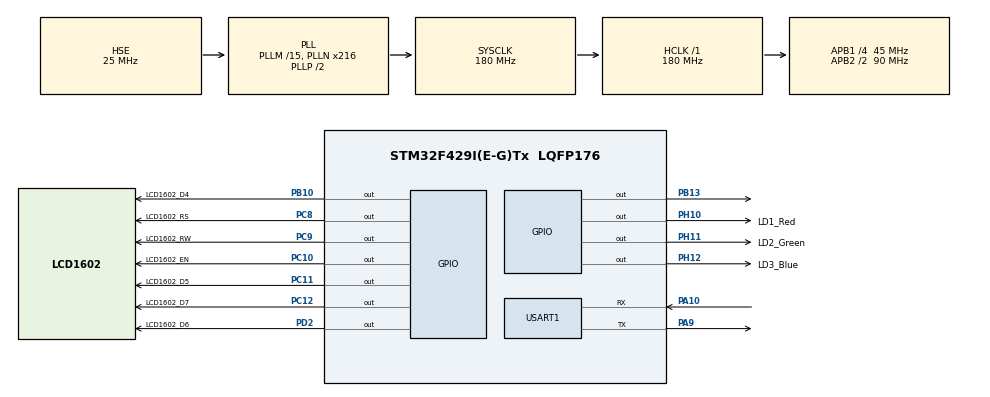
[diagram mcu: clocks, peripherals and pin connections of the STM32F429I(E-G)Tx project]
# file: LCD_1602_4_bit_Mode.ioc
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Mcu.Family=STM32F4
Mcu.Name=STM32F429I(E-G)Tx
Mcu.Package=LQFP176
NVIC.PriorityGroup=NVIC_PRIORITYGROUP_4
NVIC.TIM7_IRQn=true\:15\:0\:false\:false\:true\:false\:true
NVIC.TimeBase=TIM7_IRQn
NVIC.TimeBaseIP=TIM7
PA10.Mode=Asynchronous
PA10.Signal=USART1_RX
PA13.Mode=Serial_Wire
PA13.Signal=SYS_JTMS-SWDIO
PA14.Mode=Serial_Wire
PA14.Signal=SYS_JTCK-SWCLK
PA9.Mode=Asynchronous
PA9.Signal=USART1_TX
PB10.GPIO_Label=LCD1602_D4
PB10.Signal=GPIO_Output
PB13.PinState=GPIO_PIN_RESET
PB13.Signal=GPIO_Output
PC10.GPIO_Label=LCD1602_EN
PC10.Signal=GPIO_Output
PC11.GPIO_Label=LCD1602_D5
PC11.Signal=GPIO_Output
PC12.GPIO_Label=LCD1602_D7
PC12.Signal=GPIO_Output
PC8.GPIO_Label=LCD1602_RS
PC8.Signal=GPIO_Output
PC9.GPIO_Label=LCD1602_RW
PC9.Signal=GPIO_Output
PD2.GPIO_Label=LCD1602_D6
PD2.Signal=GPIO_Output
PH0/OSC_IN.Mode=HSE-External-Oscillator
PH0/OSC_IN.Signal=RCC_OSC_IN
PH1/OSC_OUT.Mode=HSE-External-Oscillator
PH1/OSC_OUT.Signal=RCC_OSC_OUT
PH10.GPIO_Label=LD1_Red
PH10.PinState=GPIO_PIN_SET
PH10.Signal=GPIO_Output
PH11.GPIO_Label=LD2_Green
PH11.PinState=GPIO_PIN_SET
PH11.Signal=GPIO_Output
PH12.GPIO_Label=LD3_Blue
PH12.PinState=GPIO_PIN_SET
PH12.Signal=GPIO_Output
ProjectManager.HeapSize=0x200
ProjectManager.StackSize=0x400
ProjectManager.TargetToolchain=STM32CubeIDE
RCC.48MHZClocksFreq_Value=90000000
RCC.AHBFreq_Value=180000000
RCC.APB1CLKDivider=RCC_HCLK_DIV4
RCC.APB1Freq_Value=45000000
RCC.APB1TimFreq_Value=90000000
RCC.APB2CLKDivider=RCC_HCLK_DIV2
RCC.APB2Freq_Value=90000000
RCC.APB2TimFreq_Value=180000000
RCC.CortexFreq_Value=180000000
RCC.HCLKFreq_Value=180000000
RCC.HSE_VALUE=25000000
RCC.HSI_VALUE=16000000
RCC.LSE_VALUE=32768
RCC.PLLM=15
RCC.PLLN=216
RCC.PLLSourceVirtual=RCC_PLLSOURCE_HSE
RCC.SYSCLKFreq_VALUE=180000000
RCC.SYSCLKSource=RCC_SYSCLKSOURCE_PLLCLK
RCC.VCOOutputFreq_Value=360000000
TIM6.Period=0xffff-1
TIM6.Prescaler=90-1
USART1.VirtualMode=VM_ASYNC
VP_SYS_VS_tim7.Mode=TIM7
VP_TIM6_VS_ClockSourceINT.Mode=Enable_Timer
board=custom

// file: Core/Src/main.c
/* USER CODE BEGIN Header */
/**
  ******************************************************************************
  * @file           : main.c
  * @brief          : Main program body
  ******************************************************************************
  * @attention
  *
  * Copyright (c) 2022 STMicroelectronics.
  * All rights reserved.
  *
  * This software is licensed under terms that can be found in the LICENSE file
  * in the root directory of this software component.
  * If no LICENSE file comes with this software, it is provided AS-IS.
  *
  ******************************************************************************
  */
/* USER CODE END Header */
#include "main.h"

/* USER CODE BEGIN Includes */
#include "stdio.h"
#include "LCD1602_4_bit.h"
/* USER CODE END Includes */

TIM_HandleTypeDef htim6;

UART_HandleTypeDef huart1;

void SystemClock_Config(void);
static void MX_GPIO_Init(void);
static void MX_TIM6_Init(void);
static void MX_USART1_UART_Init(void);

/* USER CODE BEGIN 0 */

int _write(int file, char *ptr, int len)
{
	HAL_UART_Transmit(&huart1, (uint8_t *)ptr, len, 100);
	return len;
}

uint8_t num = 0, row = 0, col = 0;

/* USER CODE END 0 */

int main(void)
{

  /* MCU Configuration--------------------------------------------------------*/

  /* Reset of all peripherals, Initializes the Flash interface and the Systick. */
  HAL_Init();

  /* Configure the system clock */
  SystemClock_Config();

  /* Initialize all configured peripherals */
  MX_GPIO_Init();
  MX_TIM6_Init();
  MX_USART1_UART_Init();
  /* USER CODE BEGIN 2 */

  LCD1602_Init();
  LCD1602_Set_Cursor(0, 0);
  LCD1602_Write_String("init ok 123.");

  LCD1602_Set_Cursor(1, 4);
  LCD1602_Write_String("12:45:21");

  HAL_Delay(4000);
  LCD1602_Clear();

  printf("init succeed...\r\n");
  /* USER CODE END 2 */

  /* Infinite loop */
  /* USER CODE BEGIN WHILE */
  while (1)
  {
	  HAL_GPIO_TogglePin(LD2_Green_GPIO_Port, LD2_Green_Pin);
	  HAL_Delay(400);
	  {
		  LCD1602_Set_Cursor(0, 8);

		  LCD1602_Write_Data(num + '0');

		  if (num++ == 26+26+10)
			  num = 0;
//		  col++;
//
//		  if (col > 15) {row++; col = 0;}
//		  if (row > 1) row=0;
	  }
    /* USER CODE END WHILE */

  }
}

void SystemClock_Config(void)
{
  RCC_OscInitTypeDef RCC_OscInitStruct = {0};
  RCC_ClkInitTypeDef RCC_ClkInitStruct = {0};

  /** Configure the main internal regulator output voltage
  */
  __HAL_RCC_PWR_CLK_ENABLE();
  __HAL_PWR_VOLTAGESCALING_CONFIG(PWR_REGULATOR_VOLTAGE_SCALE1);
  /** Initializes the RCC Oscillators according to the specified parameters
  * in the RCC_OscInitTypeDef structure.
  */
  RCC_OscInitStruct.OscillatorType = RCC_OSCILLATORTYPE_HSE;
  RCC_OscInitStruct.HSEState = RCC_HSE_ON;
  RCC_OscInitStruct.PLL.PLLState = RCC_PLL_ON;
  RCC_OscInitStruct.PLL.PLLSource = RCC_PLLSOURCE_HSE;
  RCC_OscInitStruct.PLL.PLLM = 15;
  RCC_OscInitStruct.PLL.PLLN = 216;
  RCC_OscInitStruct.PLL.PLLP = RCC_PLLP_DIV2;
  RCC_OscInitStruct.PLL.PLLQ = 4;
  if (HAL_RCC_OscConfig(&RCC_OscInitStruct) != HAL_OK)
  {
    Error_Handler();
  }
  /** Activate the Over-Drive mode
  */
  if (HAL_PWREx_EnableOverDrive() != HAL_OK)
  {
    Error_Handler();
  }
  /** Initializes the CPU, AHB and APB buses clocks
  */
  RCC_ClkInitStruct.ClockType = RCC_CLOCKTYPE_HCLK|RCC_CLOCKTYPE_SYSCLK
                              |RCC_CLOCKTYPE_PCLK1|RCC_CLOCKTYPE_PCLK2;
  RCC_ClkInitStruct.SYSCLKSource = RCC_SYSCLKSOURCE_PLLCLK;
  RCC_ClkInitStruct.AHBCLKDivider = RCC_SYSCLK_DIV1;
  RCC_ClkInitStruct.APB1CLKDivider = RCC_HCLK_DIV4;
  RCC_ClkInitStruct.APB2CLKDivider = RCC_HCLK_DIV2;

  if (HAL_RCC_ClockConfig(&RCC_ClkInitStruct, FLASH_LATENCY_5) != HAL_OK)
  {
    Error_Handler();
  }
}

static void MX_TIM6_Init(void)
{

  TIM_MasterConfigTypeDef sMasterConfig = {0};

  htim6.Instance = TIM6;
  htim6.Init.Prescaler = 90-1;
  htim6.Init.CounterMode = TIM_COUNTERMODE_UP;
  htim6.Init.Period = 0xffff-1;
  htim6.Init.AutoReloadPreload = TIM_AUTORELOAD_PRELOAD_DISABLE;
  if (HAL_TIM_Base_Init(&htim6) != HAL_OK)
  {
    Error_Handler();
  }
  sMasterConfig.MasterOutputTrigger = TIM_TRGO_RESET;
  sMasterConfig.MasterSlaveMode = TIM_MASTERSLAVEMODE_DISABLE;
  if (HAL_TIMEx_MasterConfigSynchronization(&htim6, &sMasterConfig) != HAL_OK)
  {
    Error_Handler();
  }

}

static void MX_USART1_UART_Init(void)
{

  huart1.Instance = USART1;
  huart1.Init.BaudRate = 115200;
  huart1.Init.WordLength = UART_WORDLENGTH_8B;
  huart1.Init.StopBits = UART_STOPBITS_1;
  huart1.Init.Parity = UART_PARITY_NONE;
  huart1.Init.Mode = UART_MODE_TX_RX;
  huart1.Init.HwFlowCtl = UART_HWCONTROL_NONE;
  huart1.Init.OverSampling = UART_OVERSAMPLING_16;
  if (HAL_UART_Init(&huart1) != HAL_OK)
  {
    Error_Handler();
  }

}

static void MX_GPIO_Init(void)
{
  GPIO_InitTypeDef GPIO_InitStruct = {0};

  /* GPIO Ports Clock Enable */
  __HAL_RCC_GPIOH_CLK_ENABLE();
  __HAL_RCC_GPIOB_CLK_ENABLE();
  __HAL_RCC_GPIOC_CLK_ENABLE();
  __HAL_RCC_GPIOA_CLK_ENABLE();
  __HAL_RCC_GPIOD_CLK_ENABLE();

  /*Configure GPIO pin Output Level */
  HAL_GPIO_WritePin(GPIOB, LCD1602_D4_Pin|GPIO_PIN_13, GPIO_PIN_RESET);

  /*Configure GPIO pin Output Level */
  HAL_GPIO_WritePin(GPIOH, LD1_Red_Pin|LD2_Green_Pin|LD3_Blue_Pin, GPIO_PIN_SET);

  /*Configure GPIO pin Output Level */
  HAL_GPIO_WritePin(GPIOC, LCD1602_RS_Pin|LCD1602_RW_Pin|LCD1602_EN_Pin|LCD1602_D5_Pin
                          |LCD1602_D7_Pin, GPIO_PIN_RESET);

  /*Configure GPIO pin Output Level */
  HAL_GPIO_WritePin(LCD1602_D6_GPIO_Port, LCD1602_D6_Pin, GPIO_PIN_RESET);

  /*Configure GPIO pins : LCD1602_D4_Pin PB13 */
  GPIO_InitStruct.Pin = LCD1602_D4_Pin|GPIO_PIN_13;
  GPIO_InitStruct.Mode = GPIO_MODE_OUTPUT_PP;
  GPIO_InitStruct.Pull = GPIO_NOPULL;
  GPIO_InitStruct.Speed = GPIO_SPEED_FREQ_LOW;
  HAL_GPIO_Init(GPIOB, &GPIO_InitStruct);

  /*Configure GPIO pins : LD1_Red_Pin LD2_Green_Pin LD3_Blue_Pin */
  GPIO_InitStruct.Pin = LD1_Red_Pin|LD2_Green_Pin|LD3_Blue_Pin;
  GPIO_InitStruct.Mode = GPIO_MODE_OUTPUT_PP;
  GPIO_InitStruct.Pull = GPIO_NOPULL;
  GPIO_InitStruct.Speed = GPIO_SPEED_FREQ_LOW;
  HAL_GPIO_Init(GPIOH, &GPIO_InitStruct);

  /*Configure GPIO pins : LCD1602_RS_Pin LCD1602_RW_Pin LCD1602_EN_Pin LCD1602_D5_Pin
                           LCD1602_D7_Pin */
  GPIO_InitStruct.Pin = LCD1602_RS_Pin|LCD1602_RW_Pin|LCD1602_EN_Pin|LCD1602_D5_Pin
                          |LCD1602_D7_Pin;
  GPIO_InitStruct.Mode = GPIO_MODE_OUTPUT_PP;
  GPIO_InitStruct.Pull = GPIO_NOPULL;
  GPIO_InitStruct.Speed = GPIO_SPEED_FREQ_LOW;
  HAL_GPIO_Init(GPIOC, &GPIO_InitStruct);

  /*Configure GPIO pin : LCD1602_D6_Pin */
  GPIO_InitStruct.Pin = LCD1602_D6_Pin;
  GPIO_InitStruct.Mode = GPIO_MODE_OUTPUT_PP;
  GPIO_InitStruct.Pull = GPIO_NOPULL;
  GPIO_InitStruct.Speed = GPIO_SPEED_FREQ_LOW;
  HAL_GPIO_Init(LCD1602_D6_GPIO_Port, &GPIO_InitStruct);

}

void HAL_TIM_PeriodElapsedCallback(TIM_HandleTypeDef *htim)
{
  if (htim->Instance == TIM7) {
    HAL_IncTick();
  }
}

void Error_Handler(void)
{
  __disable_irq();
  while (1)
  {
  }
}
